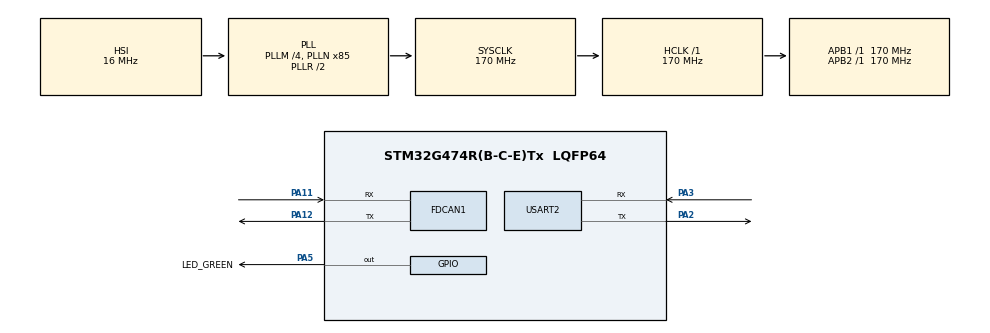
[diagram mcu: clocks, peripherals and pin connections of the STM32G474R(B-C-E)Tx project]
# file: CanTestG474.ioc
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FDCAN1.CalculateBaudRateNominal=100117
FDCAN1.CalculateTimeBitNominal=9988
FDCAN1.CalculateTimeQuantumNominal=3329.4117647058824
FDCAN1.ClockDivider=FDCAN_CLOCK_DIV2
FDCAN1.NominalPrescaler=283
FREERTOS.Tasks01=defaultTask,24,128,StartDefaultTask,Default,NULL,Dynamic,NULL,NULL
Mcu.Family=STM32G4
Mcu.Name=STM32G474R(B-C-E)Tx
Mcu.Package=LQFP64
NVIC.FDCAN1_IT0_IRQn=true\:5\:0\:false\:false\:true\:true\:true\:true\:true
NVIC.FDCAN1_IT1_IRQn=true\:5\:0\:false\:false\:true\:true\:true\:true\:true
NVIC.PriorityGroup=NVIC_PRIORITYGROUP_4
NVIC.TIM6_DAC_IRQn=true\:15\:0\:false\:false\:true\:false\:false\:true\:true
NVIC.TimeBase=TIM6_DAC_IRQn
NVIC.TimeBaseIP=TIM6
PA11.GPIO_PuPd=GPIO_PULLUP
PA11.GPIO_Speed=GPIO_SPEED_FREQ_VERY_HIGH
PA11.Mode=FDCAN_Activate
PA11.Signal=FDCAN1_RX
PA12.GPIO_Speed=GPIO_SPEED_FREQ_VERY_HIGH
PA12.Mode=FDCAN_Activate
PA12.Signal=FDCAN1_TX
PA13.GPIO_Label=T_SWDIO
PA13.Mode=Trace_Asynchronous_SW
PA13.Signal=SYS_JTMS-SWDIO
PA14.GPIO_Label=T_SWCLK
PA14.Mode=Trace_Asynchronous_SW
PA14.Signal=SYS_JTCK-SWCLK
PA2.Mode=Asynchronous
PA2.Signal=USART2_TX
PA3.Mode=Asynchronous
PA3.Signal=USART2_RX
PA5.GPIO_Label=LED_GREEN
PA5.Signal=GPIO_Output
PB3.GPIO_Label=T_SWO
PB3.Mode=Trace_Asynchronous_SW
PB3.Signal=SYS_JTDO-SWO
PC14-OSC32_IN.GPIO_Label=RCC_OSC32_IN
PC14-OSC32_IN.Signal=RCC_OSC32_IN
PC15-OSC32_OUT.GPIO_Label=RCC_OSC32_OUT
PC15-OSC32_OUT.Signal=RCC_OSC32_OUT
PF0-OSC_IN.GPIO_Label=RCC_OSC_IN
PF0-OSC_IN.Signal=RCC_OSC_IN
PF1-OSC_OUT.GPIO_Label=RCC_OSC_OUT
PF1-OSC_OUT.Signal=RCC_OSC_OUT
ProjectManager.HeapSize=0x200
ProjectManager.StackSize=0x400
ProjectManager.TargetToolchain=STM32CubeIDE
RCC.ADC12Freq_Value=170000000
RCC.ADC345Freq_Value=170000000
RCC.AHBFreq_Value=170000000
RCC.APB1Freq_Value=170000000
RCC.APB1TimFreq_Value=170000000
RCC.APB2Freq_Value=170000000
RCC.APB2TimFreq_Value=170000000
RCC.CortexFreq_Value=170000000
RCC.EXTERNAL_CLOCK_VALUE=12288000
RCC.HCLKFreq_Value=170000000
RCC.HSE_VALUE=24000000
RCC.HSI48_VALUE=48000000
RCC.HSI_VALUE=16000000
RCC.LSE_VALUE=32768
RCC.PLLM=RCC_PLLM_DIV4
RCC.PLLN=85
RCC.RTCClockSelection=RCC_RTCCLKSOURCE_LSE
RCC.SYSCLKFreq_VALUE=170000000
RCC.SYSCLKSource=RCC_SYSCLKSOURCE_PLLCLK
RCC.USBFreq_Value=170000000
RCC.VCOOutputFreq_Value=340000000
USART2.VirtualMode-Asynchronous=VM_ASYNC
VP_FREERTOS_VS_CMSIS_V2.Mode=CMSIS_V2
VP_SYS_VS_DBSignals.Mode=DisableDeadBatterySignals
VP_SYS_VS_tim6.Mode=TIM6
board=NUCLEO-G474RE

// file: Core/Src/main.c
/* USER CODE BEGIN Header */
/**
  ******************************************************************************
  * @file           : main.c
  * @brief          : Main program body
  ******************************************************************************
  * @attention
  *
  * Copyright (c) 2024 STMicroelectronics.
  * All rights reserved.
  *
  * This software is licensed under terms that can be found in the LICENSE file
  * in the root directory of this software component.
  * If no LICENSE file comes with this software, it is provided AS-IS.
  *
  ******************************************************************************
  */
/* USER CODE END Header */
#include "main.h"
#include "cmsis_os.h"

/* USER CODE BEGIN Includes */

#include <stdio.h>

/* USER CODE END Includes */

FDCAN_HandleTypeDef hfdcan1;

UART_HandleTypeDef huart2;

/* Definitions for defaultTask */
osThreadId_t defaultTaskHandle;
const osThreadAttr_t defaultTask_attributes = {
  .name = "defaultTask",
  .priority = (osPriority_t) osPriorityNormal,
  .stack_size = 128 * 4
};

void SystemClock_Config(void);
static void MX_GPIO_Init(void);
static void MX_FDCAN1_Init(void);
static void MX_USART2_UART_Init(void);
void StartDefaultTask(void *argument);

/* USER CODE BEGIN 0 */

int _write(int file, char *data, int len)
{
	HAL_UART_Transmit(&huart2, (uint8_t*)data, len, 100);
	return len;
}

/* USER CODE END 0 */

int main(void)
{

  /* MCU Configuration--------------------------------------------------------*/

  /* Reset of all peripherals, Initializes the Flash interface and the Systick. */
  HAL_Init();

  /* Configure the system clock */
  SystemClock_Config();

  /* Initialize all configured peripherals */
  MX_GPIO_Init();
  MX_FDCAN1_Init();
  MX_USART2_UART_Init();

  /* Init scheduler */
  osKernelInitialize();

  /* Create the thread(s) */
  /* creation of defaultTask */
  defaultTaskHandle = osThreadNew(StartDefaultTask, NULL, &defaultTask_attributes);

  /* Start scheduler */
  osKernelStart();

  /* We should never get here as control is now taken by the scheduler */

  /* Infinite loop */
  while (1)
  {

  }
}

void SystemClock_Config(void)
{
  RCC_OscInitTypeDef RCC_OscInitStruct = {0};
  RCC_ClkInitTypeDef RCC_ClkInitStruct = {0};

  /** Configure the main internal regulator output voltage
  */
  HAL_PWREx_ControlVoltageScaling(PWR_REGULATOR_VOLTAGE_SCALE1_BOOST);

  /** Initializes the RCC Oscillators according to the specified parameters
  * in the RCC_OscInitTypeDef structure.
  */
  RCC_OscInitStruct.OscillatorType = RCC_OSCILLATORTYPE_HSI;
  RCC_OscInitStruct.HSIState = RCC_HSI_ON;
  RCC_OscInitStruct.HSICalibrationValue = RCC_HSICALIBRATION_DEFAULT;
  RCC_OscInitStruct.PLL.PLLState = RCC_PLL_ON;
  RCC_OscInitStruct.PLL.PLLSource = RCC_PLLSOURCE_HSI;
  RCC_OscInitStruct.PLL.PLLM = RCC_PLLM_DIV4;
  RCC_OscInitStruct.PLL.PLLN = 85;
  RCC_OscInitStruct.PLL.PLLP = RCC_PLLP_DIV2;
  RCC_OscInitStruct.PLL.PLLQ = RCC_PLLQ_DIV2;
  RCC_OscInitStruct.PLL.PLLR = RCC_PLLR_DIV2;
  if (HAL_RCC_OscConfig(&RCC_OscInitStruct) != HAL_OK)
  {
    Error_Handler();
  }

  /** Initializes the CPU, AHB and APB buses clocks
  */
  RCC_ClkInitStruct.ClockType = RCC_CLOCKTYPE_HCLK|RCC_CLOCKTYPE_SYSCLK
                              |RCC_CLOCKTYPE_PCLK1|RCC_CLOCKTYPE_PCLK2;
  RCC_ClkInitStruct.SYSCLKSource = RCC_SYSCLKSOURCE_PLLCLK;
  RCC_ClkInitStruct.AHBCLKDivider = RCC_SYSCLK_DIV1;
  RCC_ClkInitStruct.APB1CLKDivider = RCC_HCLK_DIV1;
  RCC_ClkInitStruct.APB2CLKDivider = RCC_HCLK_DIV1;

  if (HAL_RCC_ClockConfig(&RCC_ClkInitStruct, FLASH_LATENCY_4) != HAL_OK)
  {
    Error_Handler();
  }
}

static void MX_FDCAN1_Init(void)
{

  hfdcan1.Instance = FDCAN1;
  hfdcan1.Init.ClockDivider = FDCAN_CLOCK_DIV2;
  hfdcan1.Init.FrameFormat = FDCAN_FRAME_CLASSIC;
  hfdcan1.Init.Mode = FDCAN_MODE_NORMAL;
  hfdcan1.Init.AutoRetransmission = DISABLE;
  hfdcan1.Init.TransmitPause = DISABLE;
  hfdcan1.Init.ProtocolException = DISABLE;
  hfdcan1.Init.NominalPrescaler = 283;
  hfdcan1.Init.NominalSyncJumpWidth = 1;
  hfdcan1.Init.NominalTimeSeg1 = 1;
  hfdcan1.Init.NominalTimeSeg2 = 1;
  hfdcan1.Init.DataPrescaler = 1;
  hfdcan1.Init.DataSyncJumpWidth = 1;
  hfdcan1.Init.DataTimeSeg1 = 1;
  hfdcan1.Init.DataTimeSeg2 = 1;
  hfdcan1.Init.StdFiltersNbr = 0;
  hfdcan1.Init.ExtFiltersNbr = 0;
  hfdcan1.Init.TxFifoQueueMode = FDCAN_TX_FIFO_OPERATION;
  if (HAL_FDCAN_Init(&hfdcan1) != HAL_OK)
  {
    Error_Handler();
  }
  /* USER CODE BEGIN FDCAN1_Init 2 */

  FDCAN_FilterTypeDef canFilterConfig;
  canFilterConfig.IdType = FDCAN_STANDARD_ID;
  canFilterConfig.FilterIndex = 0;
  canFilterConfig.FilterType = FDCAN_FILTER_RANGE;
  canFilterConfig.FilterConfig = FDCAN_FILTER_TO_RXFIFO0;
  canFilterConfig.FilterID1 = 0x000;
  canFilterConfig.FilterID2 = 0x010;

  if (HAL_FDCAN_ConfigFilter(&hfdcan1, &canFilterConfig) != HAL_OK)
  {
	  Error_Handler();
  }

  /* USER CODE END FDCAN1_Init 2 */

}

static void MX_USART2_UART_Init(void)
{

  huart2.Instance = USART2;
  huart2.Init.BaudRate = 115200;
  huart2.Init.WordLength = UART_WORDLENGTH_8B;
  huart2.Init.StopBits = UART_STOPBITS_1;
  huart2.Init.Parity = UART_PARITY_NONE;
  huart2.Init.Mode = UART_MODE_TX_RX;
  huart2.Init.HwFlowCtl = UART_HWCONTROL_NONE;
  huart2.Init.OverSampling = UART_OVERSAMPLING_16;
  huart2.Init.OneBitSampling = UART_ONE_BIT_SAMPLE_DISABLE;
  huart2.Init.ClockPrescaler = UART_PRESCALER_DIV1;
  huart2.AdvancedInit.AdvFeatureInit = UART_ADVFEATURE_NO_INIT;
  if (HAL_UART_Init(&huart2) != HAL_OK)
  {
    Error_Handler();
  }
  if (HAL_UARTEx_SetTxFifoThreshold(&huart2, UART_TXFIFO_THRESHOLD_1_8) != HAL_OK)
  {
    Error_Handler();
  }
  if (HAL_UARTEx_SetRxFifoThreshold(&huart2, UART_RXFIFO_THRESHOLD_1_8) != HAL_OK)
  {
    Error_Handler();
  }
  if (HAL_UARTEx_DisableFifoMode(&huart2) != HAL_OK)
  {
    Error_Handler();
  }

}

static void MX_GPIO_Init(void)
{
  GPIO_InitTypeDef GPIO_InitStruct = {0};

  /* GPIO Ports Clock Enable */
  __HAL_RCC_GPIOC_CLK_ENABLE();
  __HAL_RCC_GPIOF_CLK_ENABLE();
  __HAL_RCC_GPIOA_CLK_ENABLE();
  __HAL_RCC_GPIOB_CLK_ENABLE();

  /*Configure GPIO pin Output Level */
  HAL_GPIO_WritePin(LED_GREEN_GPIO_Port, LED_GREEN_Pin, GPIO_PIN_RESET);

  /*Configure GPIO pin : LED_GREEN_Pin */
  GPIO_InitStruct.Pin = LED_GREEN_Pin;
  GPIO_InitStruct.Mode = GPIO_MODE_OUTPUT_PP;
  GPIO_InitStruct.Pull = GPIO_NOPULL;
  GPIO_InitStruct.Speed = GPIO_SPEED_FREQ_LOW;
  HAL_GPIO_Init(LED_GREEN_GPIO_Port, &GPIO_InitStruct);

}

void StartDefaultTask(void *argument)
{
  /* USER CODE BEGIN 5 */

	FDCAN_RxHeaderTypeDef rxHeader;
	uint8_t rxData[8];

	if (HAL_FDCAN_Start(&hfdcan1) != HAL_OK)
	{
		Error_Handler();
	}
	/* Infinite loop */
	for(;;)
	{
//		osDelay(100);
		if (HAL_FDCAN_GetRxFifoFillLevel(&hfdcan1, FDCAN_RX_FIFO0) > 0)
		{
			if (HAL_FDCAN_GetRxMessage(&hfdcan1, FDCAN_RX_FIFO0, &rxHeader, rxData) == HAL_OK)
			{
				printf("rx data: %s\r\n", (char*)rxData);
			}
		}
	}
  /* USER CODE END 5 */
}

void HAL_TIM_PeriodElapsedCallback(TIM_HandleTypeDef *htim)
{
  if (htim->Instance == TIM6) {
    HAL_IncTick();
  }
}

void Error_Handler(void)
{
  /* USER CODE BEGIN Error_Handler_Debug */
  /* User can add his own implementation to report the HAL error return state */
  __disable_irq();
  while (1)
  {
	  HAL_GPIO_TogglePin(LED_GREEN_GPIO_Port, LED_GREEN_Pin);
	  HAL_Delay(100);
  }
  /* USER CODE END Error_Handler_Debug */
}
